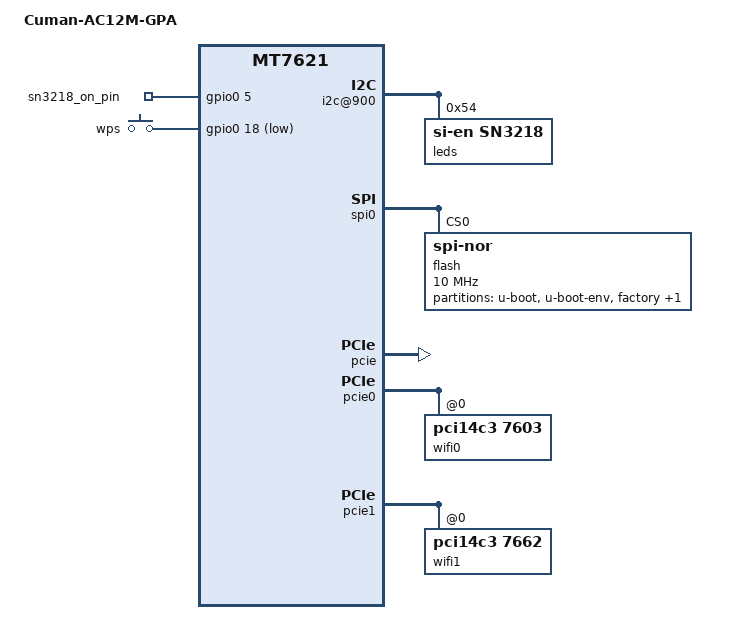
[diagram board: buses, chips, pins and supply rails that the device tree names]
/dts-v1/;

#include "mt7621.dtsi"

#include <dt-bindings/gpio/gpio.h>
#include <dt-bindings/input/input.h>

/ {
	compatible = "cuman,ac12m-gpa","mediatek,mt7621-soc";
	model = "Cuman-AC12M-GPA";


	aliases {
		led-boot = &sn3218_led16;
		led-failsafe = &sn3218_led16;
		led-running = &sn3218_led16;
		led-upgrade = &sn3218_led16;
	};

	chosen {
		bootargs = "console=ttyS0,115200";
	};

	palmbus: palmbus@1E000000 {
		i2c@900 {
			status = "okay";

			/*######################################*/
			/* reg : number of LED line (could be from 0 to 17) */
			leds: sn3218@54 {
				compatible = "si-en,sn3218";
				#address-cells = <1>;
				#size-cells = <0>;
				reg = <0x54>;

				sn3218_led00: led00@0 {
					label = "sn3218_led_reg_00";
					reg = <0x0>;
				};
				sn3218_led01: led01@1 {
					label = "sn3218_led_reg_01";
					reg = <0x1>;
				};
				sn3218_led02: led02@2 {
					label = "sn3218_led_reg_02";
					reg = <0x2>;
				};
				sn3218_led03: led03@3 {
					label = "sn3218_led_reg_03";
					reg = <0x3>;
				};
				sn3218_led04: led04@4 {
					label = "sn3218_led_reg_04";
					reg = <0x4>;
				};
				sn3218_led05: led05@5 {
					label = "sn3218_led_reg_05";
					reg = <0x5>;
				};
				sn3218_led06: led106@6 {
					label = "sn3218_led_reg_06";
					reg = <0x6>;
				};
				sn3218_led07: led07@7 {
					label = "sn3218_led_reg_07";
					reg = <0x7>;
				};
				sn3218_led08: led08@8 {
					label = "sn3218_led_reg_08";
					reg = <0x8>;
				};
				sn3218_led09: led09@9 {
					label = "sn3218_led_reg_09";
					reg = <0x9>;
				};
				sn3218_led10: led10@10 {
					label = "sn3218_led_reg_10";
					reg = <0xA>;
				};
				sn3218_led11: led11@11 {
					label = "sn3218_led_reg_11";
					reg = <0xB>;
				};
				sn3218_led12: led12@12 {
					label = "sn3218_led_reg_12";
					reg = <0xC>;
				};
				sn3218_led13: led13@13 {
					label = "sn3218_led_reg_13";
					reg = <0xD>;
				};
				sn3218_led14: led14@14 {
					label = "sn3218_led_reg_14";
					reg = <0xE>;
				};
				sn3218_led15: led15@15 {
					label = "sn3218_led_reg_15";
					reg = <0xF>;
				};
				sn3218_led16: led16@16 {
					label = "sn3218_led_reg_16";
					reg = <0x10>;
				};
				sn3218_led17: led17@17 {
					label = "sn3218_led_reg_17";
					reg = <0x11>;
				};

			};
			/*######################################*/
		};
	};

	sn3218_activator {
		compatible = "gpio-leds";
		sn3218_on_pin {
			label = "sn3218_on_pin";
			gpios = <&gpio0 5 GPIO_ACTIVE_HIGH>;
		};
	};

	keys {
		compatible = "gpio-keys-polled";
		poll-interval = <20>;

		wps {
			label = "wps";
			gpios = <&gpio0 18 GPIO_ACTIVE_LOW>;
			linux,code = <KEY_WPS_BUTTON>;
		};
	};


};

&sdhci {
	status = "disabled";
};

&spi0 {
	status = "okay";

	flash@0 {
		compatible = "jedec,spi-nor";
		reg = <0>;
		spi-max-frequency = <10000000>;

		partitions {
			compatible = "fixed-partitions";
			#address-cells = <1>;
			#size-cells = <1>;

			partition@0 {
				label = "u-boot";
				reg = <0x0 0x30000>;
				read-only;
			};

			partition@30000 {
				label = "u-boot-env";
				reg = <0x30000 0x10000>;
				read-only;
			};

			factory: partition@40000 {
				label = "factory";
				reg = <0x40000 0x10000>;
				read-only;
			};

			firmware: partition@50000 {
				compatible = "denx,uimage";
				label = "firmware";
				reg = <0x50000 0xfb0000>;
			};
		};
	};
};

&pcie {
	status = "okay";
};

&pcie0 {
	wifi0: wifi@0,0 {
		compatible = "pci14c3,7603";
		reg = <0x0000 0 0 0 0>;
		mediatek,mtd-eeprom = <&factory 0x0000>;
		mtd-mac-address = <&factory 0xe000>;
		mtd-mac-address-increment = <3>;
	};
};

&pcie1 {
	wifi1: wifi@0,0 {
		compatible = "pci14c3,7662";
		reg = <0x0000 0 0 0 0>;
		mediatek,mtd-eeprom = <&factory 0x8000>;
		ieee80211-freq-limit = <5000000 6000000>;
		mtd-mac-address = <&factory 0xe000>;
		mtd-mac-address-increment = <4>;
		led {
			led-sources = <2>;
		};
	};
};

&ethernet {
	mtd-mac-address = <&factory 0xe000>;
};

&pinctrl {
	state_default: pinctrl0 {
		gpio {
			ralink,group = "wdt", "rgmii2", "jtag", "mdio";
			ralink,function = "gpio";
		};
	};
};
